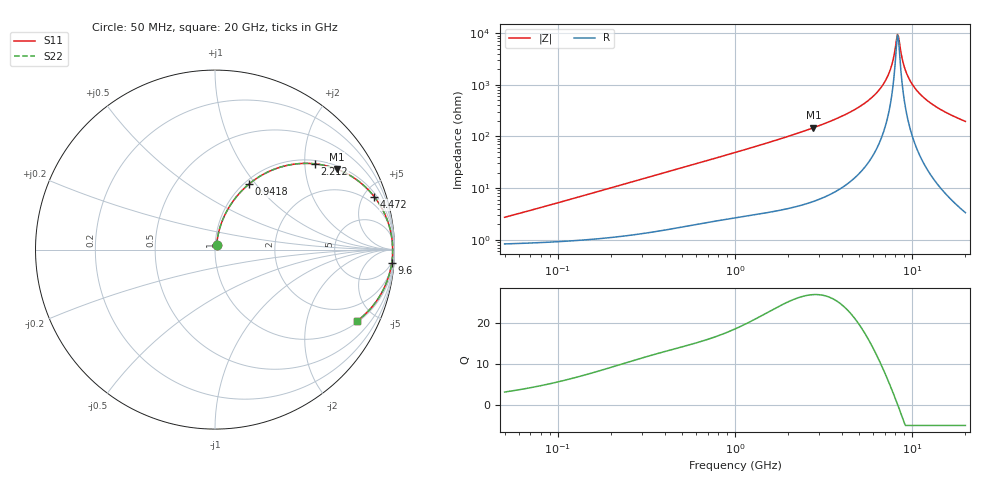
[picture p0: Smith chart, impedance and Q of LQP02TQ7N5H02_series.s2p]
!Murata Part Number: LQP02TQ7N5H02
!These Parameters are Measured in Series Mode Connection
!  o--[Z]--o
!Port1  Port2
!  o-------o
!Freq. Start=50[MHz] Stop=20[GHz], 401[Steps]
# Hz S RI R 50
!Freq.(Hz) S11(Real) S11(Imag) S21(Real) S21(Imag) S12(Real) S12(Imag) S22(Real) S22(Imag)
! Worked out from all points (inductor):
!   401 points, 50 MHz to 20 GHz, reference 50 ohm
!   read as one part in series: L = 8.19 nH near 51.52 MHz
!   highest Q = 26.8 at 2.769 GHz (marker M1), where L = 8.47 nH
!   self-resonance near 8.265 GHz
!   S11 on the Smith chart (normalised r, x): 50 MHz: 1.02, +0.05; 941.8 MHz: 1.05, +0.92; 2.212 GHz: 1.09, +2.26; 4.472 GHz: 1.27, +5.94; 9.6 GHz: 4, -26; 20 GHz: 1.07, -3.92
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5e7  0.00885 0.0254  0.9912 -0.0254  0.9912 -0.0254  0.00885 0.0254
1.364002e8  0.0143 0.0676  0.9857 -0.0676  0.9857 -0.0676  0.0143 0.0676
3.721004e8  0.0462 0.1738  0.9538 -0.1738  0.9538 -0.1738  0.0462 0.1738
9.418449e8  0.1881 0.364  0.8119 -0.364  0.8119 -0.364  0.1881 0.364
1e9  0.2054 0.3779  0.7946 -0.3779  0.7946 -0.3779  0.2054 0.3779
2.211938e9  0.5582 0.4777  0.4418 -0.4777  0.4418 -0.4777  0.5582 0.4777
2.728004e9  0.671 0.4516  0.329 -0.4516  0.329 -0.4516  0.671 0.4516
2.769174e9  0.6788 0.4487  0.3212 -0.4487  0.3212 -0.4487  0.6788 0.4487
4.472136e9  0.888 0.2938  0.112 -0.2938  0.112 -0.2938  0.888 0.2938
6.217679e9  0.9672 0.1429  0.0328 -0.1429  0.0328 -0.1429  0.9672 0.1429
6.905011e9  0.9804 0.0916  0.0196 -0.0916  0.0196 -0.0916  0.9804 0.0916
7.442007e9  0.9863 0.0544  0.0137 -0.0544  0.0137 -0.0544  0.9863 0.0544
7.784049e9  0.9885 0.032  0.0115 -0.032  0.0115 -0.032  0.9885 0.032
8.141811e9  0.9896 0.00956  0.0104 -0.00956  0.0104 -0.00956  0.9896 0.00956
8.264682e9  0.9898 0.00207  0.0102 -0.00207  0.0102 -0.00207  0.9898 0.00207
8.516016e9  0.9897 -0.0129  0.0103 0.0129  0.0103 0.0129  0.9897 -0.0129
9.041845e9  0.9882 -0.0429  0.0118 0.0429  0.0118 0.0429  0.9882 -0.0429
9.600142e9  0.9849 -0.0728  0.0151 0.0728  0.0151 0.0728  0.9849 -0.0728
1.066139e10  0.9746 -0.1248  0.0254 0.1248  0.0254 0.1248  0.9746 -0.1248
1.257102e10  0.9466 -0.2048  0.0534 0.2048  0.0534 0.2048  0.9466 -0.2048
1.550395e10  0.8898 -0.3003  0.1102 0.3003  0.1102 0.3003  0.8898 -0.3003
2e10  0.7898 -0.3991  0.2102 0.3991  0.2102 0.3991  0.7898 -0.3991
